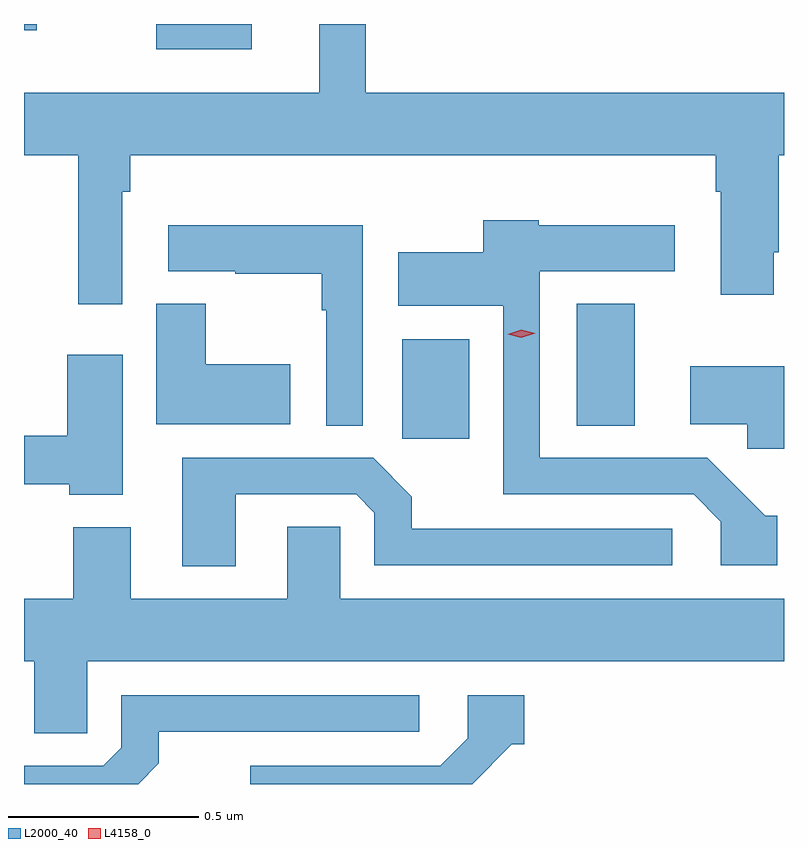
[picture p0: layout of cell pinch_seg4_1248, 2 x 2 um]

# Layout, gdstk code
import gdstk
lib = gdstk.Library(unit=1e-6, precision=1e-09)
def R(c, l, rs):  # rectangles x0, y0, x1, y1
    for r in rs: c.add(gdstk.rectangle(r[:2], r[2:], *l))
def P(c, l, *ps):  # polygons
    for p in ps: c.add(gdstk.Polygon(p, *l))
L2000_40 = (2000, 40)
L4158_0 = (4158, 0)

pinch_seg4_1248 = lib.new_cell('pinch_seg4_1248')
R(pinch_seg4_1248, L2000_40, [(315.416,809.393,315.592,809.656), (315.875,809.428,316.027,809.749), (314.768,810.419,315.019,810.485), (314.42,810.468,314.454,810.485)])
P(pinch_seg4_1248, L2000_40, [(314.679,810.044),(314.699,810.044),(314.699,810.14),(316.241,810.14),(316.241,810.044),(316.253,810.044),(316.253,809.772),(316.393,809.772),(316.393,809.884),(316.406,809.884),(316.406,810.14),(316.42,810.14),(316.42,810.304),(315.319,810.304),(315.319,810.485),(315.197,810.485),(315.197,810.304),(314.42,810.304),(314.42,810.14),(314.563,810.14),(314.563,809.748),(314.679,809.748)],
  [(316.402,809.191),(316.37,809.191),(316.218,809.343),(315.777,809.343),(315.777,809.834),(316.132,809.834),(316.132,809.956),(315.774,809.956),(315.774,809.968),(315.628,809.968),(315.628,809.884),(315.405,809.884),(315.405,809.744),(315.681,809.744),(315.681,809.247),(316.182,809.247),(316.254,809.175),(316.254,809.061),(316.402,809.061)],
  [(315.312,809.956),(314.799,809.956),(314.799,809.834),(314.976,809.834),(314.976,809.828),(315.204,809.828),(315.204,809.732),(315.216,809.732),(315.216,809.428),(315.312,809.428)],
  [(315.121,809.59),(314.898,809.59),(314.898,809.749),(314.768,809.749),(314.768,809.432),(315.121,809.432)],
  [(314.68,809.614),(314.534,809.614),(314.534,809.402),(314.42,809.402),(314.42,809.274),(314.539,809.274),(314.539,809.246),(314.68,809.246)],
  [(316.42,809.584),(316.173,809.584),(316.173,809.432),(316.323,809.432),(316.323,809.367),(316.42,809.367)],
  [(314.977,809.247),(315.294,809.247),(315.342,809.199),(315.342,809.061),(316.126,809.061),(316.126,809.157),(315.441,809.157),(315.441,809.241),(315.339,809.343),(314.837,809.343),(314.837,809.058),(314.977,809.058)],
  [(314.586,808.808),(316.42,808.808),(316.42,808.972),(315.252,808.972),(315.252,809.162),(315.113,809.162),(315.113,808.972),(314.701,808.972),(314.701,809.161),(314.549,809.161),(314.549,808.972),(314.42,808.972),(314.42,808.808),(314.447,808.808),(314.447,808.618),(314.586,808.618)],
  [(315.704,808.589),(315.736,808.589),(315.736,808.719),(315.588,808.719),(315.588,808.605),(315.516,808.533),(315.015,808.533),(315.015,808.485),(315.6,808.485)],
  [(314.775,808.539),(314.775,808.623),(315.46,808.623),(315.46,808.719),(314.676,808.719),(314.676,808.581),(314.628,808.533),(314.42,808.533),(314.42,808.485),(314.721,808.485)])
P(pinch_seg4_1248, L4158_0, [(315.729,809.66),(315.693,809.668),(315.693,809.668),(315.693,809.669),(315.729,809.68),(315.765,809.671),(315.765,809.671),(315.765,809.671)])

lib.write_gds('pinch_seg4_1248.gds')
